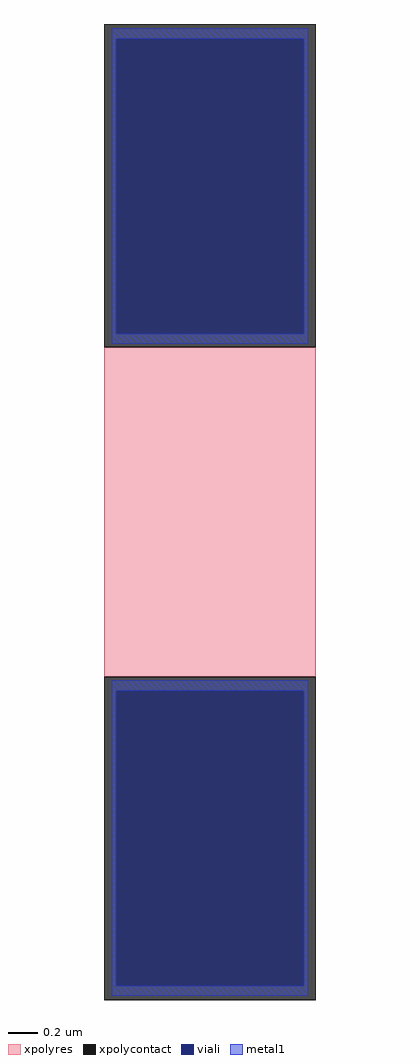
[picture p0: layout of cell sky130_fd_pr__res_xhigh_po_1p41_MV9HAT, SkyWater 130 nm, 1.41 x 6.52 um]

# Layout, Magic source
magic
tech sky130A
magscale 1 2
<< xpolycontact >>
rect -141 220 141 652
rect -141 -652 141 -220
<< xpolyres >>
rect -141 -220 141 220
<< viali >>
rect -125 238 125 632
rect -125 -633 125 -239
<< metal1 >>
rect -131 632 131 646
rect -131 238 -125 632
rect 125 238 131 632
rect -131 225 131 238
rect -131 -239 131 -225
rect -131 -633 -125 -239
rect 125 -633 131 -239
rect -131 -646 131 -633
<< end >>
